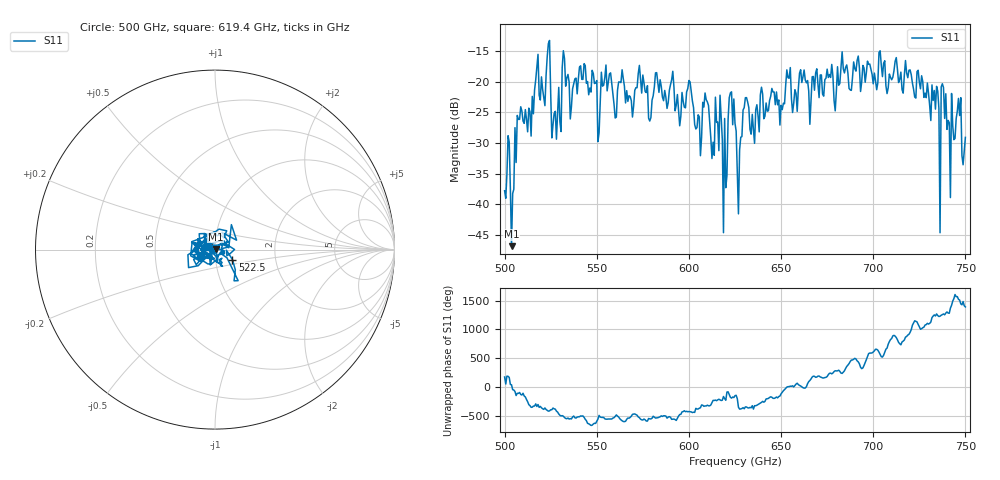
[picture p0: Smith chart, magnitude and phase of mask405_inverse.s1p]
!Created with skrf (http://scikit-rf.org).
# GHz S MA R 50.0
!freq magS11 angS11
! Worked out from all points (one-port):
!   401 points, 500 GHz to 750 GHz, reference 50 ohm
!   lowest |S11| = -46.8 dB at 503.8 GHz (marker M1), VSWR 1.01, Z = 50.4 + j0.296 ohm
!   |S11| at or under -10 dB: start of sweep to end of sweep
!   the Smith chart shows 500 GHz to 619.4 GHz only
!   S11 on the Smith chart (normalised r, x): 500 GHz: 0.97, +0.00; 522.5 GHz: 1.21, -0.14; 619.4 GHz: 0.91, +0.03
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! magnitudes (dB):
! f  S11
! 500 GHz  -37.8
! 503.8 GHz  -46.8
! 508.1 GHz  -26.2
! 522.5 GHz  -19.0
! 523.8 GHz  -13.8
! 526.9 GHz  -25.2
! 531.2 GHz  -17.7
! 562.5 GHz  -20.1
! 593.8 GHz  -22.1
! 600 GHz  -19.8
! 605.6 GHz  -25.7
! 609.4 GHz  -23.0
! 612.5 GHz  -32.5
! 616.9 GHz  -22.2
! 619.4 GHz  -26.0
! 622.5 GHz  -21.8
! 625 GHz  -26.8
! 627.5 GHz  -31.1
! 630.6 GHz  -22.6
! 634.4 GHz  -25.3
! 656.2 GHz  -25.0
! 687.5 GHz  -21.4
! 718.8 GHz  -19.4
! 735 GHz  -21.6
! 738.1 GHz  -21.0
! 743.1 GHz  -27.2
! 746.2 GHz  -22.7
! 750 GHz  -29.1
